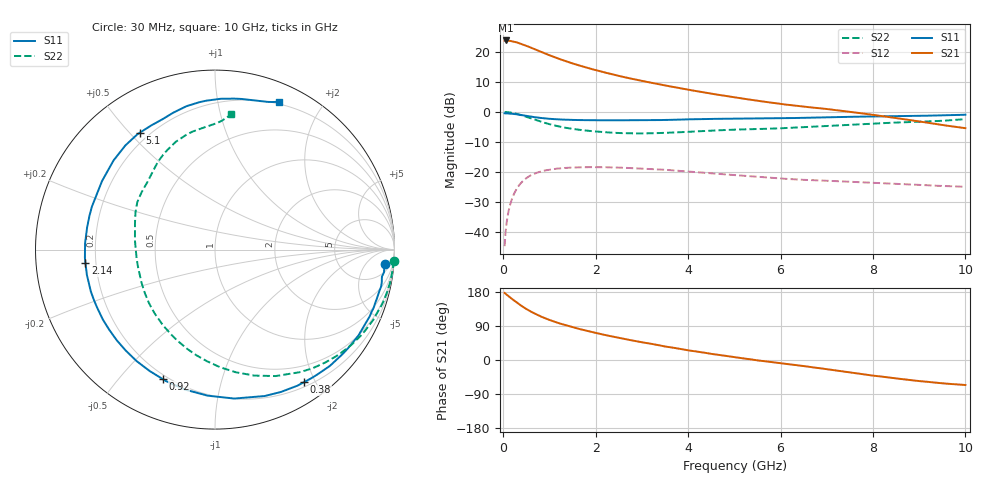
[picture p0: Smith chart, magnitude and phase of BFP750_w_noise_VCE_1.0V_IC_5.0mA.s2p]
! Infineon Technologies  Discrete & RF Semiconductors
! BFP750
! VCE =  1.0 V,  IC =  5.0 mA
! Common Emitter S-Parameters:  Jan 2016
# GHz  S  MA  R  50
!  f  S11  S21  S12  S22
! GHz  MAG  ANG  MAG  ANG  MAG  ANG  MAG  ANG
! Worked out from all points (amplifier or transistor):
!   229 points, 30 MHz to 10 GHz, reference 50 ohm
!   highest |S21| = 23.8 dB at 50 MHz (marker M1)
!   |S21| within 3 dB of that: start of sweep to 695.2 MHz
!   unconditionally stable (mu >= 1): 5.575 GHz to end of sweep
!   at 280 MHz: K = 0.05, MSG = 24.6 dB, |S12| = -25.9 dB
!   at 1.78 GHz: K = 0.25, MSG = 16.6 dB, |S12| = -18.4 dB
!   at 10 GHz: K = 1.40, MAG = 6.0 dB, |S12| = -24.9 dB
!   lowest NFmin = 0.59 dB at 450 MHz
!   S11 on the Smith chart (normalised r, x): 30 MHz: 11, -17; 380 MHz: 0.26, -1.85; 920 MHz: 0.18, -0.66; 2.14 GHz: 0.16, -0.05; 5.1 GHz: 0.16, +0.54; 10 GHz: 0.18, +1.51
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0.03  0.9486 -4.7  15.39 177.0  0.0058 87.5  0.9974 -3.6
0.05  0.9503 -7.6  15.5 174.5  0.0099 86.0  0.997 -6.0
0.15  0.9387 -23.3  15.25 165.0  0.0286 76.3  0.9797 -18.0
0.2  0.9317 -30.9  14.99 160.2  0.0374 71.7  0.965 -23.9
0.3  0.9107 -45.4  14.35 151.0  0.0537 63.2  0.9263 -35.1
0.38  0.8896 -56.1  13.68 144.1  0.0649 56.8  0.8882 -43.6
0.5  0.8614 -71.3  12.67 134.6  0.079 48.4  0.8299 -55.4
0.6  0.8368 -82.6  11.77 127.5  0.0883 42.0  0.7814 -64.4
0.8  0.7975 -102.2  10.16 115.5  0.1012 31.3  0.6936 -80.3
0.92  0.7779 -112.0  9.302 109.5  0.1065 26.1  0.6502 -88.5
1.1  0.7594 -125.1  8.219 101.4  0.1122 19.2  0.5981 -99.9
1.3  0.7447 -137.4  7.231 93.5  0.1161 12.8  0.5542 -111.0
1.5  0.7364 -148.0  6.425 86.5  0.1184 7.4  0.5216 -120.8
1.7  0.7308 -157.2  5.77 80.3  0.1198 2.5  0.4979 -129.6
2.14  0.7255 -174.2  4.661 67.7  0.1199 -6.8  0.4624 -146.5
2.68  0.7231 169.1  3.706 54.1  0.1168 -16.3  0.4408 -164.5
3.4  0.7317 151.2  2.857 38.2  0.1095 -26.5  0.4452 176.1
4  0.7525 138.7  2.347 25.5  0.1019 -33.7  0.4666 163.1
5.1  0.7743 122.6  1.706 5.9  0.0875 -42.0  0.5091 147.2
6.8  0.807 103.5  1.159 -20.7  0.0723 -47.6  0.5723 125.1
8.4  0.8482 82.6  0.81 -47.1  0.0639 -51.5  0.6603 103.8
10  0.8976 66.5  0.536 -66.0  0.0566 -52.0  0.7581 83.2
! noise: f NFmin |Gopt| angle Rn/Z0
0.45  0.59  0.43  1  0.13
0.9  0.61  0.36  29  0.13
1.5  0.68  0.26  71  0.11
1.9  0.74  0.25  97  0.07
2.4  0.84  0.25  127  0.1
3.5  1.23  0.3  174  0.08
